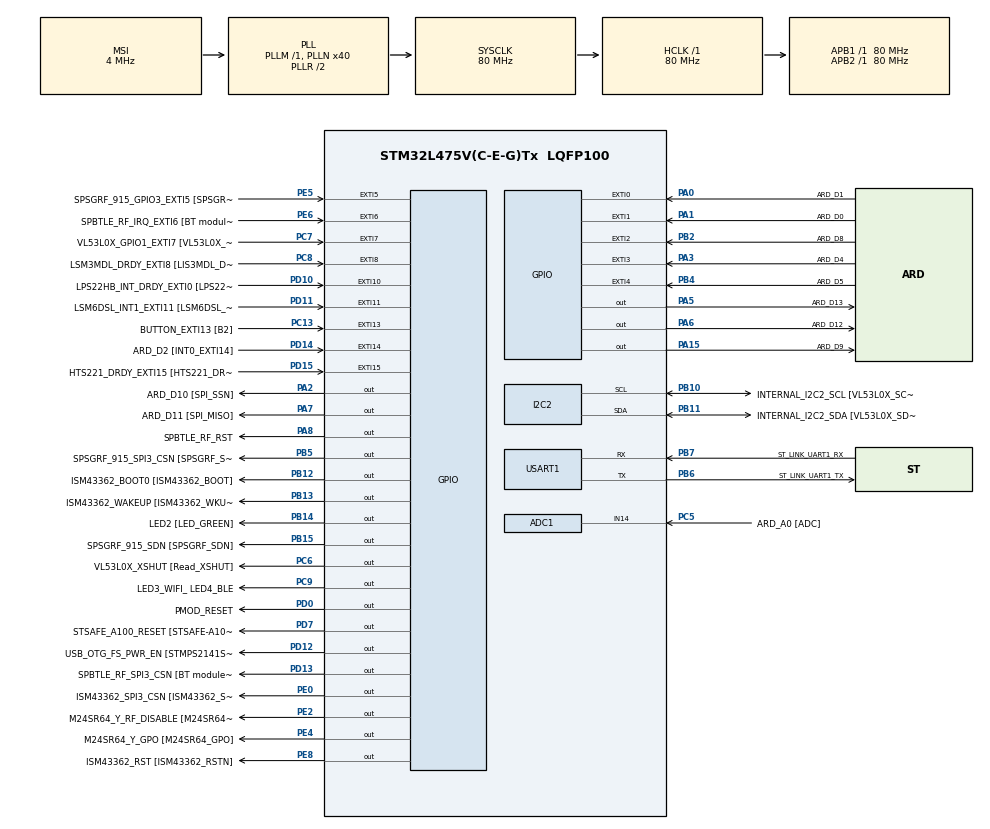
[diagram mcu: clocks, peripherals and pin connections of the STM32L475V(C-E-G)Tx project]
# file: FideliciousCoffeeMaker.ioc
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ADC1.Channel-0\#ChannelRegularConversion=ADC_CHANNEL_14
ADC1.NbrOfConversionFlag=1
ADC1.OffsetNumber-0\#ChannelRegularConversion=ADC_OFFSET_NONE
ADC1.Rank-0\#ChannelRegularConversion=1
ADC1.SamplingTime-0\#ChannelRegularConversion=ADC_SAMPLETIME_2CYCLES_5
ADC1.master=1
I2C2.Timing=0x10909CEC
Mcu.Family=STM32L4
Mcu.Name=STM32L475V(C-E-G)Tx
Mcu.Package=LQFP100
NVIC.EXTI0_IRQn=true\:0\:0\:false\:false\:true\:true\:true\:true
NVIC.EXTI15_10_IRQn=true\:0\:0\:false\:false\:true\:true\:true\:true
NVIC.EXTI1_IRQn=true\:0\:0\:false\:false\:true\:true\:true\:true
NVIC.EXTI2_IRQn=true\:0\:0\:false\:false\:true\:true\:true\:true
NVIC.EXTI3_IRQn=true\:0\:0\:false\:false\:true\:true\:true\:true
NVIC.EXTI4_IRQn=true\:0\:0\:false\:false\:true\:true\:true\:true
NVIC.EXTI9_5_IRQn=true\:0\:0\:false\:false\:true\:true\:true\:true
NVIC.PriorityGroup=NVIC_PRIORITYGROUP_4
PA0.GPIO_Label=ARD_D1
PA0.Signal=GPXTI0
PA1.GPIO_Label=ARD_D0
PA1.Signal=GPXTI1
PA10.GPIO_Label=USB_OTG_FS_ID
PA10.Signal=USB_OTG_FS_ID
PA11.GPIO_Label=USB_OTG_FS_DM
PA11.Signal=USB_OTG_FS_DM
PA12.GPIO_Label=USB_OTG_FS_DP
PA12.Signal=USB_OTG_FS_DP
PA13\ (JTMS-SWDIO).GPIO_Label=SYS_JTMS_SWDIO
PA13\ (JTMS-SWDIO).Mode=Serial_Wire
PA13\ (JTMS-SWDIO).Signal=SYS_JTMS-SWDIO
PA14\ (JTCK-SWCLK).GPIO_Label=SYS_JTCK_SWCLK
PA14\ (JTCK-SWCLK).Mode=Serial_Wire
PA14\ (JTCK-SWCLK).Signal=SYS_JTCK-SWCLK
PA15\ (JTDI).GPIO_Label=ARD_D9
PA15\ (JTDI).Signal=GPIO_Output
PA2.GPIO_Label=ARD_D10 [SPI_SSN]
PA2.Signal=GPIO_Output
PA3.GPIO_Label=ARD_D4
PA3.Signal=GPXTI3
PA5.GPIO_Label=ARD_D13
PA5.Signal=GPIO_Output
PA6.GPIO_Label=ARD_D12
PA6.Signal=GPIO_Output
PA7.GPIO_Label=ARD_D11 [SPI_MISO]
PA7.Signal=GPIO_Output
PA8.GPIO_Label=SPBTLE_RF_RST
PA8.Signal=GPIO_Output
PA9.GPIO_Label=USB_OTG_FS_VBUS [STMPS2141STR_OUT]
PA9.Signal=USB_OTG_FS_VBUS
PB1.GPIO_Label=ARD_D6 [ADC1_IN6]
PB1.Signal=ADCx_IN16
PB10.GPIO_Label=INTERNAL_I2C2_SCL [VL53L0X_SCL]
PB10.GPIO_Pu=GPIO_PULLUP
PB10.Mode=I2C
PB10.Signal=I2C2_SCL
PB11.GPIO_Label=INTERNAL_I2C2_SDA [VL53L0X_SDA]
PB11.GPIO_Pu=GPIO_PULLUP
PB11.Mode=I2C
PB11.Signal=I2C2_SDA
PB12.GPIO_Label=ISM43362_BOOT0 [ISM43362_BOOT]
PB12.Signal=GPIO_Output
PB13.GPIO_Label=ISM43362_WAKEUP [ISM43362_WKUP]
PB13.Signal=GPIO_Output
PB14.GPIO_Label=LED2 [LED_GREEN]
PB14.Signal=GPIO_Output
PB15.GPIO_Label=SPSGRF_915_SDN [SPSGRF_SDN]
PB15.Signal=GPIO_Output
PB2.GPIO_Label=ARD_D8
PB2.Signal=GPXTI2
PB3\ (JTDO-TRACESWO).GPIO_Label=SYS_JTD0_SWO
PB3\ (JTDO-TRACESWO).Signal=SYS_JTDO-SWO
PB4\ (NJTRST).GPIO_Label=ARD_D5
PB4\ (NJTRST).Signal=GPXTI4
PB5.GPIO_Label=SPSGRF_915_SPI3_CSN [SPSGRF_SPI_CS]
PB5.PinState=GPIO_PIN_SET
PB5.Signal=GPIO_Output
PB6.GPIO_Label=ST_LINK_UART1_TX
PB6.Mode=Asynchronous
PB6.Signal=USART1_TX
PB7.GPIO_Label=ST_LINK_UART1_RX
PB7.Mode=Asynchronous
PB7.Signal=USART1_RX
PB8.GPIO_Label=ARD_D15 [I2C1_SCL]
PB8.Signal=I2C1_SCL
PB9.GPIO_Label=ARD_D14 [I2C1_SDA]
PB9.Signal=I2C1_SDA
PC0.GPIO_Label=ARD_A5 [ADC]
PC0.Signal=ADCx_IN1
PC1.GPIO_Label=ARD_A4 [ADC]
PC1.Signal=ADCx_IN2
PC10.GPIO_Label=INTERNAL_SPI3_SCK [BT module_SPI_SCLK] [ISM43362_SCK]
PC10.Signal=SPI3_SCK
PC11.GPIO_Label=INTERNAL_SPI3_MISO [BT module_SPI_MISO] [ISM43362_MISO]
PC11.Signal=SPI3_MISO
PC12.GPIO_Label=INTERNAL_SPI3_MOSI [BT module_SPI_MOSI] [ISM43362_MOSI]
PC12.Signal=SPI3_MOSI
PC13.GPIO_Label=BUTTON_EXTI13 [B2]
PC13.GPIO_ModeDefaultEXTI=GPIO_MODE_IT_FALLING
PC13.Signal=GPXTI13
PC14-OSC32_IN\ (PC14).Mode=LSE-External-Oscillator
PC14-OSC32_IN\ (PC14).Signal=RCC_OSC32_IN
PC15-OSC32_OUT\ (PC15).Mode=LSE-External-Oscillator
PC15-OSC32_OUT\ (PC15).Signal=RCC_OSC32_OUT
PC2.GPIO_Label=ARD_A3 [ADC]
PC2.Signal=ADCx_IN3
PC3.GPIO_Label=ARD_A2 [ADC]
PC3.Signal=ADCx_IN4
PC4.GPIO_Label=ARD_A1 [ADC]
PC4.Signal=ADCx_IN13
PC5.GPIO_Label=ARD_A0 [ADC]
PC5.Signal=ADCx_IN14
PC6.GPIO_Label=VL53L0X_XSHUT [Read_XSHUT]
PC6.Signal=GPIO_Output
PC7.GPIO_Label=VL53L0X_GPIO1_EXTI7 [VL53L0X_GPIO1]
PC7.Signal=GPXTI7
PC8.GPIO_Label=LSM3MDL_DRDY_EXTI8 [LIS3MDL_DRDY]
PC8.Signal=GPXTI8
PC9.GPIO_Label=LED3_WIFI_ LED4_BLE
PC9.Signal=GPIO_Output
PD0.GPIO_Label=PMOD_RESET
PD0.Signal=GPIO_Output
PD1.GPIO_Label=PMOD_SPI2_SCK
PD1.Signal=SPI2_SCK
PD10.GPIO_Label=LPS22HB_INT_DRDY_EXTI0 [LPS22HB_INT_DRDY] 
PD10.Signal=GPXTI10
PD11.GPIO_Label=LSM6DSL_INT1_EXTI11 [LSM6DSL_INT1]
PD11.Signal=GPXTI11
PD12.GPIO_Label=USB_OTG_FS_PWR_EN [STMPS2141STR_EN]
PD12.Signal=GPIO_Output
PD13.GPIO_Label=SPBTLE_RF_SPI3_CSN [BT module_SPI_CS]
PD13.PinState=GPIO_PIN_SET
PD13.Signal=GPIO_Output
PD14.GPIO_Label=ARD_D2 [INT0_EXTI14]
PD14.GPIO_ModeDefaultEXTI=GPIO_MODE_IT_RISING
PD14.Signal=GPXTI14
PD15.GPIO_Label=HTS221_DRDY_EXTI15 [HTS221_DRDY]
PD15.Signal=GPXTI15
PD3.GPIO_Label=PMOD_UART2_CTS
PD3.Signal=USART2_CTS
PD4.GPIO_Label=PMOD_UART2_RTS
PD4.Signal=USART2_RTS
PD5.GPIO_Label=PMOD_UART2_TX
PD5.Signal=USART2_TX
PD6.GPIO_Label=PMOD_UART2_RX
PD6.Signal=USART2_RX
PD7.GPIO_Label=STSAFE_A100_RESET [STSAFE-A100_RESET]
PD7.Signal=GPIO_Output
PD8.GPIO_Label=INTERNAL_UART3_TX [ISM43362_RX]
PD8.Signal=USART3_TX
PD9.GPIO_Label=INTERNAL_UART3_RX [ISM43362_TX]
PD9.Signal=USART3_RX
PE0.GPIO_Label=ISM43362_SPI3_CSN [ISM43362_SSN]
PE0.PinState=GPIO_PIN_SET
PE0.Signal=GPIO_Output
PE10.GPIO_Label=QUADSPI_CLK [MX25R6435F_SCLK]
PE10.Signal=QUADSPI_CLK
PE11.GPIO_Label=QUADSPI_NCS [MX25R6435F_SCLK]
PE11.Signal=QUADSPI_NCS
PE12.GPIO_Label=OQUADSPI_BK1_IO0 [MX25R6435F_IO0]
PE12.Signal=QUADSPI_BK1_IO0
PE13.GPIO_Label=QUADSPI_BK1_IO1 [MX25R6435F_IO1]
PE13.Signal=QUADSPI_BK1_IO1
PE14.GPIO_Label=QUAD_SPI_BK1_IO2 [MX25R6435F_IO2]
PE14.Signal=QUADSPI_BK1_IO2
PE15.GPIO_Label=QUAD_SPI_BK1_IO3 [MX25R6435F_IO3]
PE15.Signal=QUADSPI_BK1_IO3
PE2.GPIO_Label=M24SR64_Y_RF_DISABLE [M24SR64_RFDIS]
PE2.Signal=GPIO_Output
PE4.GPIO_Label=M24SR64_Y_GPO [M24SR64_GPO]
PE4.Signal=GPIO_Output
PE5.GPIO_Label=SPSGRF_915_GPIO3_EXTI5 [SPSGRF_GPIO_3]
PE5.Signal=GPXTI5
PE6.GPIO_Label=SPBTLE_RF_IRQ_EXTI6 [BT module_SPI_IRQ]
PE6.Signal=GPXTI6
PE7.GPIO_Label=DFSDM1_DATIN2 [MP34DT01_DOUT]
PE7.Signal=S_DATAIN2DFSDM1
PE8.GPIO_Label=ISM43362_RST [ISM43362_RSTN]
PE8.Signal=GPIO_Output
PE9.GPIO_Label=DFSDM1_CKOUT [MP34DT01_CLK]
PE9.Signal=S_CKOUTDFSDM1
ProjectManager.HeapSize=0x200
ProjectManager.StackSize=0x400
ProjectManager.TargetToolchain=STM32CubeIDE
RCC.ADCFreq_Value=48000000
RCC.AHBFreq_Value=80000000
RCC.APB1Freq_Value=80000000
RCC.APB1TimFreq_Value=80000000
RCC.APB2Freq_Value=80000000
RCC.APB2TimFreq_Value=80000000
RCC.CortexFreq_Value=80000000
RCC.HCLKFreq_Value=80000000
RCC.HSE_VALUE=8000000
RCC.HSI_VALUE=16000000
RCC.MSI_VALUE=4000000
RCC.PLLN=40
RCC.PLLSAI1N=24
RCC.SYSCLKFreq_VALUE=80000000
RCC.SYSCLKSource=RCC_SYSCLKSOURCE_PLLCLK
RCC.USBFreq_Value=48000000
RCC.VCOOutputFreq_Value=160000000
SH.ADCx_IN1.0=ADC1_IN1
SH.ADCx_IN13.0=ADC1_IN13
SH.ADCx_IN14.0=ADC1_IN14,IN14-Single-Ended
SH.ADCx_IN16.0=ADC1_IN16
SH.ADCx_IN2.0=ADC1_IN2
SH.ADCx_IN3.0=ADC1_IN3
SH.ADCx_IN4.0=ADC1_IN4
SH.S_CKOUTDFSDM1.0=DFSDM1_CKOUT
SH.S_DATAIN2DFSDM1.0=DFSDM1_DATIN2
USART1.VirtualMode-Asynchronous=VM_ASYNC
board=B-L475E-IOT01A1

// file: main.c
/* USER CODE BEGIN Header */
/**
  ******************************************************************************
  * @file           : main.c
  * @brief          : Main program body
  * @author			: Fidel Quezada Guzman
  ******************************************************************************
  * @attention
  *
  * Copyright (c) 2023 STMicroelectronics.
  * All rights reserved.
  *
  * This software is licensed under terms that can be found in the LICENSE file
  * in the root directory of this software component.
  * If no LICENSE file comes with this software, it is provided AS-IS.
  *
  ******************************************************************************
  */
/* USER CODE END Header */
#include "main.h"

/* USER CODE BEGIN Includes */
#include "stdio.h"						// Standard C Lib
#include "stm32l475e_iot01_tsensor.h"	// Temperature Sensor Lib

/* USER CODE END Includes */

/* USER CODE BEGIN PD */

// User Input Buffer
#define UART_RX_BUFFER_SIZE 32

// Coffee Size Selection Input Pins
#define SCUP_6OZ_D0 ARD_D0_Pin		// PA1
#define SMUG_8OZ_D1 ARD_D1_Pin		// PA0
#define LMUG_10OZ_D2 ARD_D2_Pin		// PD14
#define TMUG_12OZ_D4 ARD_D4_Pin		// PA3

// Refill Water to 100% Input Pins
#define REFILL_WATER_D5 ARD_D5_Pin	// PB4

// Strong Brew On/Off
#define STRONG_BREW_D8 ARD_D8_Pin	// PB2

// LED Output Pins
#define MAIN_POWER_D9 ARD_D9_Pin		// PA15
#define STRONG_BREW_D10 ARD_D10_Pin		// PA2
#define WATER_LOW_D11 ARD_D11_Pin		// PA7
#define AUTO_OFF_D12 ARD_D12_Pin		// PA6
#define BREWING_D13 ARD_D13_Pin			// PA5

/* USER CODE END PD */

ADC_HandleTypeDef hadc1;		// ADC Handler
I2C_HandleTypeDef hi2c2;		// I2C Handler
UART_HandleTypeDef huart1;		// UART Handler

/* USER CODE BEGIN PV */

// User Input Buffer
uint16_t uart_rx_buffer[UART_RX_BUFFER_SIZE];

// Status Booleans
_Bool power = 0;					// Power On/Off, initialized to false
_Bool strongBrew = 0;				// Strong Brew On/Off, initialized to false

// 8-Bit Integer Variables
uint8_t userCupSizeInput = 0;		// User input for Cup Size Selection
uint8_t waterLevel = 100;			// Water reservoir, default 100oz
uint8_t autoOffTimer = 60;			// Timer counter for Auto-Off Functionality

// 16-Bit Analog Reading Variables
 uint16_t adcPOT;

/* USER CODE END PV */

void SystemClock_Config(void);
static void MX_GPIO_Init(void);
static void MX_USART1_UART_Init(void);
static void MX_ADC1_Init(void);
static void MX_I2C2_Init(void);
/* USER CODE BEGIN PFP */

// UART1 (TX/RX) User Input
void receive_char(char* rx_char);				// User Input Characters
void receive_int(uint8_t* rx_byte);				// User Input Integer

// Toggle Boolean
void togglePower(void);							// Power On/Off
void toggleBrewStrength(void);					// Brew Strength On/Off

// Coffee Progress Bar Animation
void updateProgressBar(int progress, int oz);

// Print Return
void brewCompletion(void);						// Coffee Brewing Strength
void getWaterTemp(void);						// Water Temperature (Simulated)

// Get Water Level from POT Prototype
int adcWaterLevel(void);						// Read ADC POT position
void refillWater(int adcPOT);					// Set Water Level based on ADC Input

/* USER CODE END PFP */

int main(void)
{

  /* MCU Configuration--------------------------------------------------------*/

  /* Reset of all peripherals, Initializes the Flash interface and the Systick. */
  HAL_Init();

  /* USER CODE BEGIN Init */

  // Initialize HTS221 Sensor for Temperature Reading
  BSP_TSENSOR_Init();

  /* USER CODE END Init */

  /* Configure the system clock */
  SystemClock_Config();

  /* Initialize all configured peripherals */
  MX_GPIO_Init();
  MX_USART1_UART_Init();
  MX_ADC1_Init();
  MX_I2C2_Init();
  /* USER CODE BEGIN 2 */

  // Local Variables

  /* variables for Serial text Input option
  char charInput;				// User Input Char for Write/Read Option
  uint8_t intInput = 0;			// User Int Input
  */

  // Coffee Sizes Selections
  const uint8_t smallCupSize = 1;			// 6oz Cup Size
  const uint8_t smallMugSize = 2;			// 8oz Cup Size
  const uint8_t largeMugSize = 3;			// 10oz Cup Size
  const uint8_t travelMugSize = 4;			// 12oz Cup Size

  // Initial User Prompt
  printf("\n\n\n\n\n");
  printf("****************************************\n");
  printf("*           UCSD Spring 2023           *\n");
  printf("*       Embedded C Programming         *\n");
  printf("*        Fidel Quezada Guzman          *\n");
  printf("****************************************\n");
  printf("\n\n");
  printf("\tFidelicious Coffee Maker\n");
  printf("\nPress the ON Button to Start the Revival Process\n");
  printf("Turning OFF in: ");

  /* USER CODE END 2 */

  /* Infinite loop */
  /* USER CODE BEGIN WHILE */
  while (autoOffTimer > 0)
  {
	  // Power ON or Auto Off Message
	  if(autoOffTimer > 1)
	  {
		  printf("%d Seconds\n", autoOffTimer);
	  }
	  else
		  printf("%d Second\n", autoOffTimer);
	  autoOffTimer--;
	  HAL_Delay(1000);

	  // Program Start when User Button Pressed under 60s
	  if (power)
	  {
		  // Reset Auto-Off
		  autoOffTimer = 60;

		  // Power On Initial Message
		  printf("\n\n****************************************\n");
		  printf("*       Fidelicious Coffee Maker       *\n");
		  printf("****************************************\n");
		  printf("\nStrong Brew: %d", strongBrew);

		  // Hold while User makes selection & Power is On
		  while (userCupSizeInput == 0 && power == 1)
		  {
			  // User Selects Coffee Size
			  while(power == 1)
			  {
				  // Water Level Low, have User Refill (handled via interrupt function)
				  if (waterLevel < 6  && power == 1)
				  {
					  printf("\nWater Level is too low!!\nPlease Refill & Click on the 'Refill Done' Button\n");

					  while (waterLevel < 6)
					  {
						  // Add Water LEDToggle when Water Low
						  HAL_GPIO_TogglePin(GPIOA, WATER_LOW_D11);
						  HAL_Delay(1000);
					  }
				  }

				  // Water Level Enough to Proceed & Power On
				  if (power == 1 && userCupSizeInput == 0)
				  {
					  // Turn Water Low LED OFF
					  HAL_GPIO_WritePin(GPIOA, WATER_LOW_D11, GPIO_PIN_RESET);

					  // Print Cup Sizes to UART
					  printf("\n\nPlease Select a Coffee Size:\n");
					  printf("1) Small Cup	(6oz)\n");
					  printf("2) Small Mug 	(8oz)\n");
					  printf("3) Large Mug 	(10oz)\n");
					  printf("4) Travel Mug	(12oz)\n\n");

					  // Water Level & Temperature
					  printf("Water Level: %d oz, ", waterLevel);
					  getWaterTemp();
					  printf("\n\n");

					  // Hold till user makes selection
					  while (userCupSizeInput == 0)
					  {
						  HAL_Delay(100);
					  }
				  }

				  // Small Cup (6oz) Selected
				  if (userCupSizeInput == smallCupSize && waterLevel >= 6 && power == 1)
				  {
					  // Brewing in Progress LED ON
					  HAL_GPIO_WritePin(GPIOA, BREWING_D13, GPIO_PIN_SET);

					  // Progress Bar Animation & Brew Strength UART Print
					  printf("\tBrewing: Small Cup (6oz)\n");
					  for (int i = 0; i <= 6; i++)
					  {
						  updateProgressBar(i, 6);
					  }
					  brewCompletion();

					  // Value Updates
					  waterLevel = waterLevel - 6;			// Water Level
					  userCupSizeInput = 0;					// Reset Cup Selection

					  // Brew Progress LED OFF
					  HAL_GPIO_WritePin(GPIOA, BREWING_D13, GPIO_PIN_RESET);
				  }

				  // Small Mug (8oz) Selected
				  else if (userCupSizeInput == smallMugSize && waterLevel >= 8 && power == 1)
				  {
					  // Brewing in Progress LED ON
					  HAL_GPIO_WritePin(GPIOA, BREWING_D13, GPIO_PIN_SET);

					  // Progress Bar Animation & Brew Strength UART Print
					  printf("\tBrewing: Small Mug (8oz)\n");
					  // Progress Bar animation
					  for (int i = 0; i <= 8; i++)
					  {
						  updateProgressBar(i, 8);
					  }
					  brewCompletion();

					  // Value Updates
					  waterLevel = waterLevel - 8;			// Update Water Level
					  userCupSizeInput = 0;					// Reset Cup Selection

					  // Brew Progress LED OFF
					  HAL_GPIO_WritePin(GPIOA, BREWING_D13, GPIO_PIN_RESET);
				  }

				  // Large Mug (10oz) Selected
				  else if (userCupSizeInput == largeMugSize && waterLevel >= 10 && power == 1)
				  {
					  // Brewing in Progress LED ON
					  HAL_GPIO_WritePin(GPIOA, BREWING_D13, GPIO_PIN_SET);

					  // Progress Bar Animation & Brew Strength UART Print
					  printf("\tBrewing: Large Mug (10oz)\n");
					  // Progress Bar animation
					  for (int i = 0; i <= 10; i++)
					  {
						  updateProgressBar(i, 10);
					  }
					  brewCompletion();

					  // Value Updates
					  waterLevel = waterLevel - 10;			// Update Water Level
					  userCupSizeInput = 0;					// Reset Cup Selection

					  // Brew Progress LED OFF
					  HAL_GPIO_WritePin(GPIOA, BREWING_D13, GPIO_PIN_RESET);
				  }

				  // Travel Mug (12oz) Selected
				  else if (userCupSizeInput == travelMugSize && waterLevel >= 12 && power == 1)
				  {
					  // Brewing in Progress LED ON
					  HAL_GPIO_WritePin(GPIOA, BREWING_D13, GPIO_PIN_SET);

					  // Progress Bar Animation & Brew Strength UART Print
					  printf("\tBrewing: Travel Mug (12oz)\n");
					  // Progress Bar animation
					  for (int i = 0; i <= 12; i++)
					  {
						  updateProgressBar(i, 12);
					  }
					  brewCompletion();

					  // Value Updates
					  waterLevel = waterLevel - 12;			// Update Water Level
					  userCupSizeInput = 0;					// Reset Cup Selection

					  // Brew Progress LED OFF
					  HAL_GPIO_WritePin(GPIOA, BREWING_D13, GPIO_PIN_RESET);
				  }
			  }
		  }
	  }

	  // Auto-Off reached, Reboot main Power
	  if (autoOffTimer == 0)
	  {
		  printf("\nPowering OFF\nReboot Main Power\n");
		  // Auto-Off LED ON
		  HAL_GPIO_WritePin(GPIOA, AUTO_OFF_D12, GPIO_PIN_SET);	// ARD_D11 Port
	  }
    /* USER CODE END WHILE */
  }
}

void SystemClock_Config(void)
{
  RCC_OscInitTypeDef RCC_OscInitStruct = {0};
  RCC_ClkInitTypeDef RCC_ClkInitStruct = {0};

  /** Configure the main internal regulator output voltage
  */
  if (HAL_PWREx_ControlVoltageScaling(PWR_REGULATOR_VOLTAGE_SCALE1) != HAL_OK)
  {
    Error_Handler();
  }

  /** Configure LSE Drive Capability
  */
  HAL_PWR_EnableBkUpAccess();
  __HAL_RCC_LSEDRIVE_CONFIG(RCC_LSEDRIVE_LOW);

  /** Initializes the RCC Oscillators according to the specified parameters
  * in the RCC_OscInitTypeDef structure.
  */
  RCC_OscInitStruct.OscillatorType = RCC_OSCILLATORTYPE_LSE|RCC_OSCILLATORTYPE_MSI;
  RCC_OscInitStruct.LSEState = RCC_LSE_ON;
  RCC_OscInitStruct.MSIState = RCC_MSI_ON;
  RCC_OscInitStruct.MSICalibrationValue = 0;
  RCC_OscInitStruct.MSIClockRange = RCC_MSIRANGE_6;
  RCC_OscInitStruct.PLL.PLLState = RCC_PLL_ON;
  RCC_OscInitStruct.PLL.PLLSource = RCC_PLLSOURCE_MSI;
  RCC_OscInitStruct.PLL.PLLM = 1;
  RCC_OscInitStruct.PLL.PLLN = 40;
  RCC_OscInitStruct.PLL.PLLP = RCC_PLLP_DIV7;
  RCC_OscInitStruct.PLL.PLLQ = RCC_PLLQ_DIV2;
  RCC_OscInitStruct.PLL.PLLR = RCC_PLLR_DIV2;
  if (HAL_RCC_OscConfig(&RCC_OscInitStruct) != HAL_OK)
  {
    Error_Handler();
  }

  /** Initializes the CPU, AHB and APB buses clocks
  */
  RCC_ClkInitStruct.ClockType = RCC_CLOCKTYPE_HCLK|RCC_CLOCKTYPE_SYSCLK
                              |RCC_CLOCKTYPE_PCLK1|RCC_CLOCKTYPE_PCLK2;
  RCC_ClkInitStruct.SYSCLKSource = RCC_SYSCLKSOURCE_PLLCLK;
  RCC_ClkInitStruct.AHBCLKDivider = RCC_SYSCLK_DIV1;
  RCC_ClkInitStruct.APB1CLKDivider = RCC_HCLK_DIV1;
  RCC_ClkInitStruct.APB2CLKDivider = RCC_HCLK_DIV1;

  if (HAL_RCC_ClockConfig(&RCC_ClkInitStruct, FLASH_LATENCY_4) != HAL_OK)
  {
    Error_Handler();
  }

  /** Enable MSI Auto calibration
  */
  HAL_RCCEx_EnableMSIPLLMode();
}

static void MX_ADC1_Init(void)
{

  ADC_MultiModeTypeDef multimode = {0};
  ADC_ChannelConfTypeDef sConfig = {0};

  /** Common config
  */
  hadc1.Instance = ADC1;
  hadc1.Init.ClockPrescaler = ADC_CLOCK_ASYNC_DIV1;
  hadc1.Init.Resolution = ADC_RESOLUTION_12B;
  hadc1.Init.DataAlign = ADC_DATAALIGN_RIGHT;
  hadc1.Init.ScanConvMode = ADC_SCAN_DISABLE;
  hadc1.Init.EOCSelection = ADC_EOC_SINGLE_CONV;
  hadc1.Init.LowPowerAutoWait = DISABLE;
  hadc1.Init.ContinuousConvMode = DISABLE;
  hadc1.Init.NbrOfConversion = 1;
  hadc1.Init.DiscontinuousConvMode = DISABLE;
  hadc1.Init.ExternalTrigConv = ADC_SOFTWARE_START;
  hadc1.Init.ExternalTrigConvEdge = ADC_EXTERNALTRIGCONVEDGE_NONE;
  hadc1.Init.DMAContinuousRequests = DISABLE;
  hadc1.Init.Overrun = ADC_OVR_DATA_PRESERVED;
  hadc1.Init.OversamplingMode = DISABLE;
  if (HAL_ADC_Init(&hadc1) != HAL_OK)
  {
    Error_Handler();
  }

  /** Configure the ADC multi-mode
  */
  multimode.Mode = ADC_MODE_INDEPENDENT;
  if (HAL_ADCEx_MultiModeConfigChannel(&hadc1, &multimode) != HAL_OK)
  {
    Error_Handler();
  }

  /** Configure Regular Channel
  */
  sConfig.Channel = ADC_CHANNEL_14;
  sConfig.Rank = ADC_REGULAR_RANK_1;
  sConfig.SamplingTime = ADC_SAMPLETIME_2CYCLES_5;
  sConfig.SingleDiff = ADC_SINGLE_ENDED;
  sConfig.OffsetNumber = ADC_OFFSET_NONE;
  sConfig.Offset = 0;
  if (HAL_ADC_ConfigChannel(&hadc1, &sConfig) != HAL_OK)
  {
    Error_Handler();
  }

}

static void MX_I2C2_Init(void)
{

  hi2c2.Instance = I2C2;
  hi2c2.Init.Timing = 0x10909CEC;
  hi2c2.Init.OwnAddress1 = 0;
  hi2c2.Init.AddressingMode = I2C_ADDRESSINGMODE_7BIT;
  hi2c2.Init.DualAddressMode = I2C_DUALADDRESS_DISABLE;
  hi2c2.Init.OwnAddress2 = 0;
  hi2c2.Init.OwnAddress2Masks = I2C_OA2_NOMASK;
  hi2c2.Init.GeneralCallMode = I2C_GENERALCALL_DISABLE;
  hi2c2.Init.NoStretchMode = I2C_NOSTRETCH_DISABLE;
  if (HAL_I2C_Init(&hi2c2) != HAL_OK)
  {
    Error_Handler();
  }

  /** Configure Analogue filter
  */
  if (HAL_I2CEx_ConfigAnalogFilter(&hi2c2, I2C_ANALOGFILTER_ENABLE) != HAL_OK)
  {
    Error_Handler();
  }

  /** Configure Digital filter
  */
  if (HAL_I2CEx_ConfigDigitalFilter(&hi2c2, 0) != HAL_OK)
  {
    Error_Handler();
  }

}

static void MX_USART1_UART_Init(void)
{

  huart1.Instance = USART1;
  huart1.Init.BaudRate = 115200;
  huart1.Init.WordLength = UART_WORDLENGTH_8B;
  huart1.Init.StopBits = UART_STOPBITS_1;
  huart1.Init.Parity = UART_PARITY_NONE;
  huart1.Init.Mode = UART_MODE_TX_RX;
  huart1.Init.HwFlowCtl = UART_HWCONTROL_NONE;
  huart1.Init.OverSampling = UART_OVERSAMPLING_16;
  huart1.Init.OneBitSampling = UART_ONE_BIT_SAMPLE_DISABLE;
  huart1.AdvancedInit.AdvFeatureInit = UART_ADVFEATURE_NO_INIT;
  if (HAL_UART_Init(&huart1) != HAL_OK)
  {
    Error_Handler();
  }

}

static void MX_GPIO_Init(void)
{
  GPIO_InitTypeDef GPIO_InitStruct = {0};

  /* GPIO Ports Clock Enable */
  __HAL_RCC_GPIOE_CLK_ENABLE();
  __HAL_RCC_GPIOC_CLK_ENABLE();
  __HAL_RCC_GPIOA_CLK_ENABLE();
  __HAL_RCC_GPIOB_CLK_ENABLE();
  __HAL_RCC_GPIOD_CLK_ENABLE();

  /*Configure GPIO pin Output Level */
  HAL_GPIO_WritePin(GPIOE, M24SR64_Y_RF_DISABLE_Pin|M24SR64_Y_GPO_Pin|ISM43362_RST_Pin, GPIO_PIN_RESET);

  /*Configure GPIO pin Output Level */
  HAL_GPIO_WritePin(GPIOA, ARD_D10_Pin|ARD_D13_Pin|ARD_D12_Pin|ARD_D11_Pin
                          |SPBTLE_RF_RST_Pin|ARD_D9_Pin, GPIO_PIN_RESET);

  /*Configure GPIO pin Output Level */
  HAL_GPIO_WritePin(GPIOB, ISM43362_BOOT0_Pin|ISM43362_WAKEUP_Pin|LED2_Pin|SPSGRF_915_SDN_Pin, GPIO_PIN_RESET);

  /*Configure GPIO pin Output Level */
  HAL_GPIO_WritePin(GPIOD, USB_OTG_FS_PWR_EN_Pin|PMOD_RESET_Pin|STSAFE_A100_RESET_Pin, GPIO_PIN_RESET);

  /*Configure GPIO pin Output Level */
  HAL_GPIO_WritePin(SPBTLE_RF_SPI3_CSN_GPIO_Port, SPBTLE_RF_SPI3_CSN_Pin, GPIO_PIN_SET);

  /*Configure GPIO pin Output Level */
  HAL_GPIO_WritePin(GPIOC, VL53L0X_XSHUT_Pin|LED3_WIFI__LED4_BLE_Pin, GPIO_PIN_RESET);

  /*Configure GPIO pin Output Level */
  HAL_GPIO_WritePin(SPSGRF_915_SPI3_CSN_GPIO_Port, SPSGRF_915_SPI3_CSN_Pin, GPIO_PIN_SET);

  /*Configure GPIO pin Output Level */
  HAL_GPIO_WritePin(ISM43362_SPI3_CSN_GPIO_Port, ISM43362_SPI3_CSN_Pin, GPIO_PIN_SET);

  /*Configure GPIO pins : M24SR64_Y_RF_DISABLE_Pin M24SR64_Y_GPO_Pin ISM43362_RST_Pin ISM43362_SPI3_CSN_Pin */
  GPIO_InitStruct.Pin = M24SR64_Y_RF_DISABLE_Pin|M24SR64_Y_GPO_Pin|ISM43362_RST_Pin|ISM43362_SPI3_CSN_Pin;
  GPIO_InitStruct.Mode = GPIO_MODE_OUTPUT_PP;
  GPIO_InitStruct.Pull = GPIO_NOPULL;
  GPIO_InitStruct.Speed = GPIO_SPEED_FREQ_LOW;
  HAL_GPIO_Init(GPIOE, &GPIO_InitStruct);

  /*Configure GPIO pins : SPSGRF_915_GPIO3_EXTI5_Pin SPBTLE_RF_IRQ_EXTI6_Pin */
  GPIO_InitStruct.Pin = SPSGRF_915_GPIO3_EXTI5_Pin|SPBTLE_RF_IRQ_EXTI6_Pin;
  GPIO_InitStruct.Mode = GPIO_MODE_IT_RISING;
  GPIO_InitStruct.Pull = GPIO_NOPULL;
  HAL_GPIO_Init(GPIOE, &GPIO_InitStruct);

  /*Configure GPIO pin : BUTTON_EXTI13_Pin */
  GPIO_InitStruct.Pin = BUTTON_EXTI13_Pin;
  GPIO_InitStruct.Mode = GPIO_MODE_IT_FALLING;
  GPIO_InitStruct.Pull = GPIO_NOPULL;
  HAL_GPIO_Init(BUTTON_EXTI13_GPIO_Port, &GPIO_InitStruct);

  /*Configure GPIO pins : ARD_D1_Pin ARD_D0_Pin ARD_D4_Pin */
  GPIO_InitStruct.Pin = ARD_D1_Pin|ARD_D0_Pin|ARD_D4_Pin;
  GPIO_InitStruct.Mode = GPIO_MODE_IT_RISING;
  GPIO_InitStruct.Pull = GPIO_NOPULL;
  HAL_GPIO_Init(GPIOA, &GPIO_InitStruct);

  /*Configure GPIO pins : ARD_D10_Pin ARD_D13_Pin ARD_D12_Pin ARD_D11_Pin
                           SPBTLE_RF_RST_Pin ARD_D9_Pin */
  GPIO_InitStruct.Pin = ARD_D10_Pin|ARD_D13_Pin|ARD_D12_Pin|ARD_D11_Pin
                          |SPBTLE_RF_RST_Pin|ARD_D9_Pin;
  GPIO_InitStruct.Mode = GPIO_MODE_OUTPUT_PP;
  GPIO_InitStruct.Pull = GPIO_NOPULL;
  GPIO_InitStruct.Speed = GPIO_SPEED_FREQ_LOW;
  HAL_GPIO_Init(GPIOA, &GPIO_InitStruct);

  /*Configure GPIO pins : ARD_D8_Pin ARD_D5_Pin */
  GPIO_InitStruct.Pin = ARD_D8_Pin|ARD_D5_Pin;
  GPIO_InitStruct.Mode = GPIO_MODE_IT_RISING;
  GPIO_InitStruct.Pull = GPIO_NOPULL;
  HAL_GPIO_Init(GPIOB, &GPIO_InitStruct);

  /*Configure GPIO pins : DFSDM1_DATIN2_Pin DFSDM1_CKOUT_Pin */
  GPIO_InitStruct.Pin = DFSDM1_DATIN2_Pin|DFSDM1_CKOUT_Pin;
  GPIO_InitStruct.Mode = GPIO_MODE_AF_PP;
  GPIO_InitStruct.Pull = GPIO_NOPULL;
  GPIO_InitStruct.Speed = GPIO_SPEED_FREQ_LOW;
  GPIO_InitStruct.Alternate = GPIO_AF6_DFSDM1;
  HAL_GPIO_Init(GPIOE, &GPIO_InitStruct);

  /*Configure GPIO pins : QUADSPI_CLK_Pin QUADSPI_NCS_Pin OQUADSPI_BK1_IO0_Pin QUADSPI_BK1_IO1_Pin
                           QUAD_SPI_BK1_IO2_Pin QUAD_SPI_BK1_IO3_Pin */
  GPIO_InitStruct.Pin = QUADSPI_CLK_Pin|QUADSPI_NCS_Pin|OQUADSPI_BK1_IO0_Pin|QUADSPI_BK1_IO1_Pin
                          |QUAD_SPI_BK1_IO2_Pin|QUAD_SPI_BK1_IO3_Pin;
  GPIO_InitStruct.Mode = GPIO_MODE_AF_PP;
  GPIO_InitStruct.Pull = GPIO_NOPULL;
  GPIO_InitStruct.Speed = GPIO_SPEED_FREQ_VERY_HIGH;
  GPIO_InitStruct.Alternate = GPIO_AF10_QUADSPI;
  HAL_GPIO_Init(GPIOE, &GPIO_InitStruct);

  /*Configure GPIO pins : ISM43362_BOOT0_Pin ISM43362_WAKEUP_Pin LED2_Pin SPSGRF_915_SDN_Pin
                           SPSGRF_915_SPI3_CSN_Pin */
  GPIO_InitStruct.Pin = ISM43362_BOOT0_Pin|ISM43362_WAKEUP_Pin|LED2_Pin|SPSGRF_915_SDN_Pin
                          |SPSGRF_915_SPI3_CSN_Pin;
  GPIO_InitStruct.Mode = GPIO_MODE_OUTPUT_PP;
  GPIO_InitStruct.Pull = GPIO_NOPULL;
  GPIO_InitStruct.Speed = GPIO_SPEED_FREQ_LOW;
  HAL_GPIO_Init(GPIOB, &GPIO_InitStruct);

  /*Configure GPIO pins : INTERNAL_UART3_TX_Pin INTERNAL_UART3_RX_Pin */
  GPIO_InitStruct.Pin = INTERNAL_UART3_TX_Pin|INTERNAL_UART3_RX_Pin;
  GPIO_InitStruct.Mode = GPIO_MODE_AF_PP;
  GPIO_InitStruct.Pull = GPIO_NOPULL;
  GPIO_InitStruct.Speed = GPIO_SPEED_FREQ_VERY_HIGH;
  GPIO_InitStruct.Alternate = GPIO_AF7_USART3;
  HAL_GPIO_Init(GPIOD, &GPIO_InitStruct);

  /*Configure GPIO pins : LPS22HB_INT_DRDY_EXTI0_Pin LSM6DSL_INT1_EXTI11_Pin ARD_D2_Pin HTS221_DRDY_EXTI15_Pin */
  GPIO_InitStruct.Pin = LPS22HB_INT_DRDY_EXTI0_Pin|LSM6DSL_INT1_EXTI11_Pin|ARD_D2_Pin|HTS221_DRDY_EXTI15_Pin;
  GPIO_InitStruct.Mode = GPIO_MODE_IT_RISING;
  GPIO_InitStruct.Pull = GPIO_NOPULL;
  HAL_GPIO_Init(GPIOD, &GPIO_InitStruct);

  /*Configure GPIO pins : USB_OTG_FS_PWR_EN_Pin SPBTLE_RF_SPI3_CSN_Pin PMOD_RESET_Pin STSAFE_A100_RESET_Pin */
  GPIO_InitStruct.Pin = USB_OTG_FS_PWR_EN_Pin|SPBTLE_RF_SPI3_CSN_Pin|PMOD_RESET_Pin|STSAFE_A100_RESET_Pin;
  GPIO_InitStruct.Mode = GPIO_MODE_OUTPUT_PP;
  GPIO_InitStruct.Pull = GPIO_NOPULL;
  GPIO_InitStruct.Speed = GPIO_SPEED_FREQ_LOW;
  HAL_GPIO_Init(GPIOD, &GPIO_InitStruct);

  /*Configure GPIO pins : VL53L0X_XSHUT_Pin LED3_WIFI__LED4_BLE_Pin */
  GPIO_InitStruct.Pin = VL53L0X_XSHUT_Pin|LED3_WIFI__LED4_BLE_Pin;
  GPIO_InitStruct.Mode = GPIO_MODE_OUTPUT_PP;
  GPIO_InitStruct.Pull = GPIO_NOPULL;
  GPIO_InitStruct.Speed = GPIO_SPEED_FREQ_LOW;
  HAL_GPIO_Init(GPIOC, &GPIO_InitStruct);

  /*Configure GPIO pins : VL53L0X_GPIO1_EXTI7_Pin LSM3MDL_DRDY_EXTI8_Pin */
  GPIO_InitStruct.Pin = VL53L0X_GPIO1_EXTI7_Pin|LSM3MDL_DRDY_EXTI8_Pin;
  GPIO_InitStruct.Mode = GPIO_MODE_IT_RISING;
  GPIO_InitStruct.Pull = GPIO_NOPULL;
  HAL_GPIO_Init(GPIOC, &GPIO_InitStruct);

  /*Configure GPIO pin : USB_OTG_FS_VBUS_Pin */
  GPIO_InitStruct.Pin = USB_OTG_FS_VBUS_Pin;
  GPIO_InitStruct.Mode = GPIO_MODE_INPUT;
  GPIO_InitStruct.Pull = GPIO_NOPULL;
  HAL_GPIO_Init(USB_OTG_FS_VBUS_GPIO_Port, &GPIO_InitStruct);

  /*Configure GPIO pins : USB_OTG_FS_ID_Pin USB_OTG_FS_DM_Pin USB_OTG_FS_DP_Pin */
  GPIO_InitStruct.Pin = USB_OTG_FS_ID_Pin|USB_OTG_FS_DM_Pin|USB_OTG_FS_DP_Pin;
  GPIO_InitStruct.Mode = GPIO_MODE_AF_PP;
  GPIO_InitStruct.Pull = GPIO_NOPULL;
  GPIO_InitStruct.Speed = GPIO_SPEED_FREQ_VERY_HIGH;
  GPIO_InitStruct.Alternate = GPIO_AF10_OTG_FS;
  HAL_GPIO_Init(GPIOA, &GPIO_InitStruct);

  /*Configure GPIO pins : INTERNAL_SPI3_SCK_Pin INTERNAL_SPI3_MISO_Pin INTERNAL_SPI3_MOSI_Pin */
  GPIO_InitStruct.Pin = INTERNAL_SPI3_SCK_Pin|INTERNAL_SPI3_MISO_Pin|INTERNAL_SPI3_MOSI_Pin;
  GPIO_InitStruct.Mode = GPIO_MODE_AF_PP;
  GPIO_InitStruct.Pull = GPIO_NOPULL;
  GPIO_InitStruct.Speed = GPIO_SPEED_FREQ_VERY_HIGH;
  GPIO_InitStruct.Alternate = GPIO_AF6_SPI3;
  HAL_GPIO_Init(GPIOC, &GPIO_InitStruct);

  /*Configure GPIO pin : PMOD_SPI2_SCK_Pin */
  GPIO_InitStruct.Pin = PMOD_SPI2_SCK_Pin;
  GPIO_InitStruct.Mode = GPIO_MODE_AF_PP;
  GPIO_InitStruct.Pull = GPIO_NOPULL;
  GPIO_InitStruct.Speed = GPIO_SPEED_FREQ_VERY_HIGH;
  GPIO_InitStruct.Alternate = GPIO_AF5_SPI2;
  HAL_GPIO_Init(PMOD_SPI2_SCK_GPIO_Port, &GPIO_InitStruct);

  /*Configure GPIO pins : PMOD_UART2_CTS_Pin PMOD_UART2_RTS_Pin PMOD_UART2_TX_Pin PMOD_UART2_RX_Pin */
  GPIO_InitStruct.Pin = PMOD_UART2_CTS_Pin|PMOD_UART2_RTS_Pin|PMOD_UART2_TX_Pin|PMOD_UART2_RX_Pin;
  GPIO_InitStruct.Mode = GPIO_MODE_AF_PP;
  GPIO_InitStruct.Pull = GPIO_NOPULL;
  GPIO_InitStruct.Speed = GPIO_SPEED_FREQ_VERY_HIGH;
  GPIO_InitStruct.Alternate = GPIO_AF7_USART2;
  HAL_GPIO_Init(GPIOD, &GPIO_InitStruct);

  /*Configure GPIO pins : ARD_D15_Pin ARD_D14_Pin */
  GPIO_InitStruct.Pin = ARD_D15_Pin|ARD_D14_Pin;
  GPIO_InitStruct.Mode = GPIO_MODE_AF_OD;
  GPIO_InitStruct.Pull = GPIO_NOPULL;
  GPIO_InitStruct.Speed = GPIO_SPEED_FREQ_VERY_HIGH;
  GPIO_InitStruct.Alternate = GPIO_AF4_I2C1;
  HAL_GPIO_Init(GPIOB, &GPIO_InitStruct);

  /* EXTI interrupt init*/
  HAL_NVIC_SetPriority(EXTI0_IRQn, 0, 0);
  HAL_NVIC_EnableIRQ(EXTI0_IRQn);

  HAL_NVIC_SetPriority(EXTI1_IRQn, 0, 0);
  HAL_NVIC_EnableIRQ(EXTI1_IRQn);

  HAL_NVIC_SetPriority(EXTI2_IRQn, 0, 0);
  HAL_NVIC_EnableIRQ(EXTI2_IRQn);

  HAL_NVIC_SetPriority(EXTI3_IRQn, 0, 0);
  HAL_NVIC_EnableIRQ(EXTI3_IRQn);

  HAL_NVIC_SetPriority(EXTI4_IRQn, 0, 0);
  HAL_NVIC_EnableIRQ(EXTI4_IRQn);

  HAL_NVIC_SetPriority(EXTI9_5_IRQn, 0, 0);
  HAL_NVIC_EnableIRQ(EXTI9_5_IRQn);

  HAL_NVIC_SetPriority(EXTI15_10_IRQn, 0, 0);
  HAL_NVIC_EnableIRQ(EXTI15_10_IRQn);

}

/* USER CODE BEGIN 4 */

// UART1 (TX/RX) User Input Characters Functions
void receive_char(char* rx_char)
{
  HAL_UART_Receive(&huart1, (uint8_t*) rx_char, 1, HAL_MAX_DELAY);
}

// UART1 (TX/RX) User Input Hex Functions
void receive_int(uint8_t* rx_byte)
{
  char buffer[3];  // Buffer to hold received data

  HAL_UART_Receive(&huart1, (uint8_t*) buffer, 2, HAL_MAX_DELAY);
  buffer[2] = '\0';  // Add null terminator to buffer
  *rx_byte = strtol(buffer, NULL, 16);  // Convert buffer to integer
}

/*---- Standard ARM CMSIS Library functions ----*/
//  Sending to Serial Port
int __io_putchar(int ch)
{
	HAL_UART_Transmit(&huart1, (uint8_t *)&ch, sizeof(uint8_t), HAL_MAX_DELAY);
	return ch;
}

// Receiving from Serial Port
int __io_getchar(void)
{
	uint8_t ch;
	HAL_UART_Receive(&huart1, &ch, sizeof(ch), HAL_MAX_DELAY);
	return ch;
}

// GPIO Interrupt Handler Function
void HAL_GPIO_EXTI_Callback(uint16_t GPIO_Pin)
{
	// Start Main Program via Blue Board User Button
	if(GPIO_Pin == BUTTON_EXTI13_Pin)
	{
		// Start Main Program
		togglePower();

		// Main Power LED On/Off
		if(power == 1)
		{
			HAL_GPIO_WritePin(GPIOA, MAIN_POWER_D9, GPIO_PIN_SET);
		}
		else
			HAL_GPIO_WritePin(GPIOA, MAIN_POWER_D9, GPIO_PIN_RESET);
	}

	// Water Refill
	else if (GPIO_Pin == REFILL_WATER_D5)
	{
		// Refill Water to Level Selected on POT
		refillWater(adcPOT);

		// Turn Off Water Low LED & Print Water Level
		HAL_GPIO_WritePin(GPIOA, WATER_LOW_D11, GPIO_PIN_RESET);
		printf("Water Level: %d oz, ", waterLevel);
		getWaterTemp();
		printf("\n\n");
	}

	// StrongBrew On/Off
	else if (GPIO_Pin == STRONG_BREW_D8)
	{
		// Toggle strongBrew Bool
		toggleBrewStrength();

		// Toggle StrongBrew LED & Print Strong Brew Status
		if(strongBrew == 1)
		{
			HAL_GPIO_WritePin(ARD_D10_GPIO_Port, STRONG_BREW_D10, GPIO_PIN_SET);
		}
		else
			HAL_GPIO_WritePin(ARD_D10_GPIO_Port, STRONG_BREW_D10, GPIO_PIN_RESET);

		printf("Strong Brew: %d\n", strongBrew);
	}

	// Small Cup (6oz) Selection
	if (GPIO_Pin == SCUP_6OZ_D0)
	{
		userCupSizeInput = 1;
	}

	// Small Mug (8oz) Selection
	else if (GPIO_Pin == SMUG_8OZ_D1)
	{
		userCupSizeInput = 2;
	}

	// Large Mug (10oz) Selection
	else if (GPIO_Pin == LMUG_10OZ_D2)
	{
		userCupSizeInput = 3;
	}

	// Travel Mug (12oz) Selection
	else if (GPIO_Pin == TMUG_12OZ_D4)
	{
		userCupSizeInput = 4;
	}
}

// Toggle Power Boolean
void togglePower(void)
{
    power = !power;
}

// Toggle Strong Brew Boolean
void toggleBrewStrength(void)
{
	strongBrew = !strongBrew;
}

// Coffee Brew Progress Bar Animation
void updateProgressBar(int progress, int oz)
{
	// Width constant/ variable
    const uint8_t barWidth = 40;
    uint8_t completedWidth = barWidth * progress / oz;

    char progressBar[barWidth + 1]; // +1 for null terminator
    memset(progressBar, ' ', barWidth);
    progressBar[barWidth] = '\0';

    // Fill Up Progress
    for (uint8_t i = 0; i < completedWidth; ++i)
    {
    	progressBar[i] = '*';
    }

    // Adjust size as needed
    char output[50];
    snprintf(output, sizeof(output), "[%s] %d oz\r\n", progressBar, progress);

    printf("%s", output);
    HAL_Delay(300);
}

// Coffee Brewing Strength Completion Print
void brewCompletion(void)
{
	if(strongBrew == 1)
	{
		printf("\tStrong Brew Complete! :)\n");
	}
	else if(strongBrew == 0)
	{
		printf("\tNormal Brew Complete! :)\n");
	}
}

// Get Water Temperature
void getWaterTemp(void)
{
	// Read Temperature, Store in variable, Print
	int temperature = BSP_TSENSOR_ReadTemp();
	printf("%d C", temperature);
}

// Get Water Level from POT
int adcWaterLevel(void)
{
	// Get ADC Value from POT
	HAL_ADC_Start(&hadc1);					// Start ACD Conversion
	HAL_ADC_PollForConversion(&hadc1,100);	// Allow for end of conversion in Polling Mode
	adcPOT = HAL_ADC_GetValue(&hadc1);		// Store ADC value gathered into variable(ADC Value: 0-4075)

	// Return ADC Value gathered
	return adcPOT;
}

// Input adcPOT value, Convert, output Water Level
void refillWater(int adcPOT)
{
	adcPOT = adcWaterLevel();

	if (adcPOT > 4000)
	{
		waterLevel = 100;
	}
	else if(adcPOT > 3000 && adcPOT < 4000)
	{
		waterLevel = 90;
	}
	else if(adcPOT > 2000 && adcPOT < 3000 )
	{
		waterLevel = 80;
	}
	else if(adcPOT > 1000 && adcPOT < 2000)
	{
		waterLevel = 70;
	}
	else if(adcPOT > 500 && adcPOT < 1000)
	{
		waterLevel = 60;
	}
	else if(adcPOT > 250 && adcPOT < 500)
	{
		waterLevel = 50;
	}
	else if(adcPOT > 125 && adcPOT < 250)
	{
		waterLevel = 40;
	}
	else if(adcPOT > 60 && adcPOT < 125)
	{
		waterLevel = 30;
	}
	else if(adcPOT > 30 && adcPOT < 60)
	{
		waterLevel = 20;
	}
	else if(adcPOT > 15 && adcPOT < 30)
	{
		waterLevel = 10;
	}
	else
		waterLevel = 0;
}

/* USER CODE END 4 */

void Error_Handler(void)
{
  __disable_irq();
  while (1)
  {
  }
}
